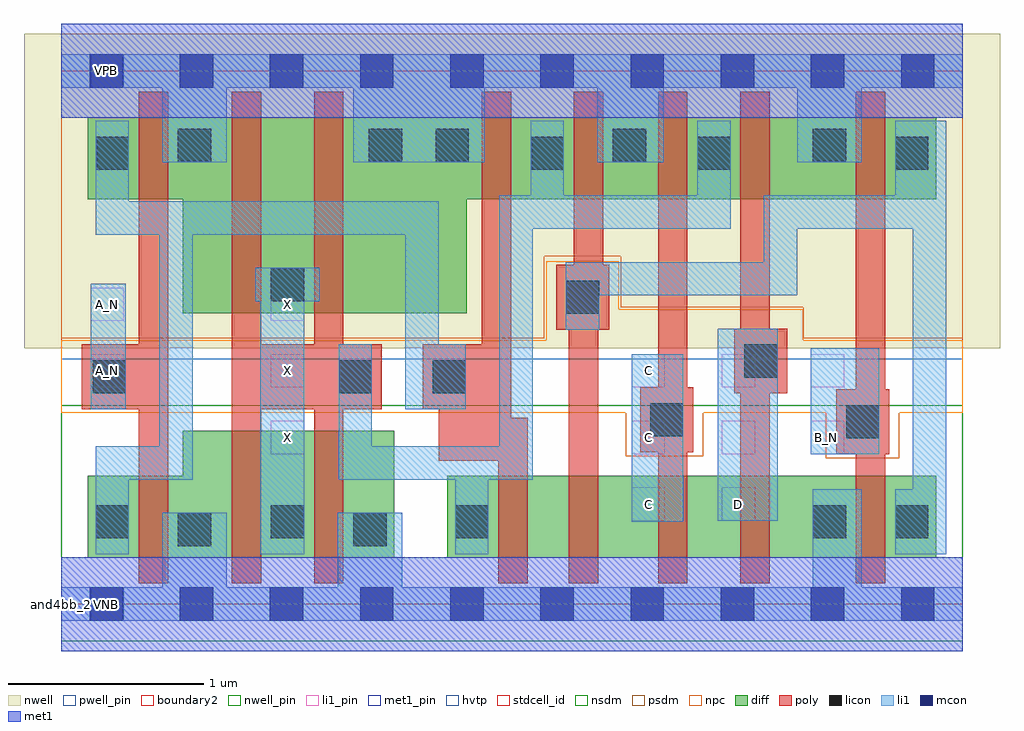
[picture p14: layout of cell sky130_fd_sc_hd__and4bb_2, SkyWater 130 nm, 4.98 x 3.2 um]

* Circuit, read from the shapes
.subckt sky130_fd_sc_hd__and4bb_2 A_N B_N C D VGND VNB VPB VPWR X
XM1 VGND A_N n1 VNB sky130_fd_pr__nfet_01v8 w=0.42 l=0.15
XM2 X n2 VGND VNB sky130_fd_pr__nfet_01v8 w=0.65 l=0.15 m=2
XM3 n3 n1 n2 VNB sky130_fd_pr__nfet_01v8 w=0.42 l=0.15
XM4 n4 n5 n3 VNB sky130_fd_pr__nfet_01v8 w=0.42 l=0.15
XM5 n6 C n4 VNB sky130_fd_pr__nfet_01v8 w=0.42 l=0.15
XM6 VGND D n6 VNB sky130_fd_pr__nfet_01v8 w=0.42 l=0.15
XM7 n5 B_N VGND VNB sky130_fd_pr__nfet_01v8 w=0.42 l=0.15
XM8 VPWR A_N n1 VPB sky130_fd_pr__pfet_01v8_hvt w=0.42 l=0.15
XM9 X n2 VPWR VPB sky130_fd_pr__pfet_01v8_hvt w=1 l=0.15 m=2
XM10 n2 n1 VPWR VPB sky130_fd_pr__pfet_01v8_hvt w=0.42 l=0.15
XM11 VPWR n5 n2 VPB sky130_fd_pr__pfet_01v8_hvt w=0.42 l=0.15
XM12 n2 C VPWR VPB sky130_fd_pr__pfet_01v8_hvt w=0.42 l=0.15
XM13 VPWR D n2 VPB sky130_fd_pr__pfet_01v8_hvt w=0.42 l=0.15
XM14 n5 B_N VPWR VPB sky130_fd_pr__pfet_01v8_hvt w=0.42 l=0.15
.ends

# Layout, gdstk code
import gdstk
lib = gdstk.Library(unit=1e-6, precision=1e-09)
def R(c, l, rs):  # rectangles x0, y0, x1, y1
    for r in rs: c.add(gdstk.rectangle(r[:2], r[2:], *l))
def A(c, l, x, y, w, h, nx, ny, dx, dy):  # array of equal rectangles
    R(c, l, [(x+i*dx, y+j*dy, x+i*dx+w, y+j*dy+h) for i in range(nx) for j in range(ny)])
def P(c, l, *ps):  # polygons
    for p in ps: c.add(gdstk.Polygon(p, *l))
nwell_pin = (64, 16)
nwell = (64, 20)
diff = (65, 20)
poly = (66, 20)
licon = (66, 44)
li1_pin = (67, 16)
li1 = (67, 20)
mcon = (67, 44)
met1_pin = (68, 16)
met1 = (68, 20)
hvtp = (78, 44)
stdcell_id = (81, 4)
nsdm = (93, 44)
psdm = (94, 20)
npc = (95, 20)
pwell_pin = (122, 16)
boundary2 = (236, 0)

sky130_fd_sc_hd__and4bb_ = lib.new_cell('sky130_fd_sc_hd__and4bb_2')
R(sky130_fd_sc_hd__and4bb_, nwell_pin, [(0.15,2.635,0.32,2.805)])
R(sky130_fd_sc_hd__and4bb_, nwell, [(-0.19,1.305,4.79,2.91)])
R(sky130_fd_sc_hd__and4bb_, diff, [(1.97,0.235,4.465,0.655)])
P(sky130_fd_sc_hd__and4bb_, diff, [(4.465,2.485),(0.135,2.485),(0.135,2.065),(0.62,2.065),(0.62,1.485),(2.07,1.485),(2.07,2.065),(4.465,2.065)],
  [(1.7,0.885),(0.62,0.885),(0.62,0.655),(0.135,0.655),(0.135,0.235),(1.7,0.235)])
P(sky130_fd_sc_hd__and4bb_, poly, [(0.545,2.615),(0.395,2.615),(0.395,1.325),(0.105,1.325),(0.105,0.995),(0.395,0.995),(0.395,0.105),(0.545,0.105)],
  [(4.225,1.095),(4.205,1.095),(4.205,2.615),(4.055,2.615),(4.055,1.095),(3.955,1.095),(3.955,0.765),(4.055,0.765),(4.055,0.105),(4.205,0.105),(4.205,0.765),(4.225,0.765)],
  [(1.635,1.325),(1.44,1.325),(1.44,2.615),(1.29,2.615),(1.29,1.325),(1.02,1.325),(1.02,2.615),(0.87,2.615),(0.87,0.105),(1.02,0.105),(1.02,0.995),(1.29,0.995),(1.29,0.105),(1.44,0.105),(1.44,0.995),(1.635,0.995)],
  [(2.38,0.95),(2.295,0.95),(2.295,2.615),(2.145,2.615),(2.145,1.325),(1.845,1.325),(1.845,0.995),(1.925,0.995),(1.925,0.73),(2.23,0.73),(2.23,0.105),(2.38,0.105)],
  [(2.795,1.73),(2.765,1.73),(2.765,2.615),(2.615,2.615),(2.615,1.73),(2.525,1.73),(2.525,1.4),(2.59,1.4),(2.59,0.105),(2.74,0.105),(2.74,1.4),(2.795,1.4)],
  [(3.225,1.105),(3.195,1.105),(3.195,2.615),(3.045,2.615),(3.045,1.105),(2.955,1.105),(2.955,0.775),(3.045,0.775),(3.045,0.105),(3.195,0.105),(3.195,0.775),(3.225,0.775)],
  [(3.705,1.405),(3.615,1.405),(3.615,2.615),(3.465,2.615),(3.465,1.405),(3.435,1.405),(3.435,1.075),(3.465,1.075),(3.465,0.105),(3.615,0.105),(3.615,1.075),(3.705,1.075)])
R(sky130_fd_sc_hd__and4bb_, licon, [(0.595,0.295,0.765,0.465), (1.49,0.295,1.66,0.465), (0.175,0.335,0.345,0.505), (1.07,0.335,1.24,0.505), (2.01,0.335,2.18,0.505), (3.835,0.335,4.005,0.505), (4.255,0.335,4.425,0.505), (4.005,0.845,4.175,1.015), (3.005,0.855,3.175,1.025), (0.16,1.075,0.33,1.245), (1.415,1.075,1.585,1.245), (1.895,1.075,2.065,1.245), (3.485,1.155,3.655,1.325), (2.575,1.48,2.745,1.65), (1.07,1.545,1.24,1.715), (0.175,2.215,0.345,2.385), (2.395,2.215,2.565,2.385), (3.245,2.215,3.415,2.385), (4.255,2.215,4.425,2.385), (0.595,2.255,0.765,2.425), (1.57,2.255,1.74,2.425), (1.91,2.255,2.08,2.425), (2.815,2.255,2.985,2.425), (3.835,2.255,4.005,2.425)])
A(sky130_fd_sc_hd__and4bb_, li1_pin, 2.91, 0.425, 0.17, 0.17, 1, 3, 0, 0.34)
A(sky130_fd_sc_hd__and4bb_, li1_pin, 3.37, 0.425, 0.17, 0.17, 1, 3, 0, 0.34)
A(sky130_fd_sc_hd__and4bb_, li1_pin, 1.07, 0.765, 0.17, 0.17, 1, 3, 0, 0.34)
R(sky130_fd_sc_hd__and4bb_, li1_pin, [(3.825,0.765,3.995,0.935), (0.15,1.105,0.32,1.275), (3.825,1.105,3.995,1.275), (0.15,1.445,0.32,1.615)])
R(sky130_fd_sc_hd__and4bb_, li1, [(2.91,0.42,3.175,1.275), (3.35,0.425,3.655,1.405), (3.825,0.765,4.175,1.305), (0.15,0.995,0.33,1.635)])
P(sky130_fd_sc_hd__and4bb_, li1, [(4.515,2.465),(4.255,2.465),(4.255,2.085),(3.585,2.085),(3.585,1.745),(2.575,1.745),(2.575,1.4),(2.745,1.4),(2.745,1.575),(3.755,1.575),(3.755,1.915),(4.345,1.915),(4.345,0.585),(4.255,0.585),(4.255,0.255),(4.515,0.255)],
  [(1.32,1.715),(0.99,1.715),(0.99,1.545),(1.015,1.545),(1.015,0.255),(1.24,0.255),(1.24,1.545),(1.32,1.545)],
  [(4.6,0.085),(4.085,0.085),(4.085,0.585),(3.835,0.585),(3.835,0.085),(1.74,0.085),(1.74,0.465),(1.41,0.465),(1.41,0.085),(0.845,0.085),(0.845,0.465),(0.515,0.465),(0.515,0.085),(0,0.085),(0,-0.085),(4.6,-0.085)],
  [(2.065,1.325),(1.925,1.325),(1.925,2.055),(0.345,2.055),(0.345,2.465),(0.175,2.465),(0.175,1.885),(0.5,1.885),(0.5,0.805),(0.175,0.805),(0.175,0.255),(0.345,0.255),(0.345,0.635),(0.67,0.635),(0.67,1.885),(1.755,1.885),(1.755,0.995),(2.065,0.995)],
  [(4.6,2.805),(0,2.805),(0,2.635),(0.515,2.635),(0.515,2.255),(0.845,2.255),(0.845,2.635),(1.49,2.635),(1.49,2.255),(2.16,2.255),(2.16,2.635),(2.735,2.635),(2.735,2.255),(3.075,2.255),(3.075,2.635),(3.755,2.635),(3.755,2.255),(4.085,2.255),(4.085,2.635),(4.6,2.635)],
  [(3.415,2.465),(3.245,2.465),(3.245,2.085),(2.565,2.085),(2.565,2.465),(2.395,2.465),(2.395,2.085),(2.235,2.085),(2.235,0.805),(1.585,0.805),(1.585,1.325),(1.415,1.325),(1.415,0.635),(2.01,0.635),(2.01,0.255),(2.18,0.255),(2.18,0.635),(2.405,0.635),(2.405,1.915),(3.415,1.915)])
A(sky130_fd_sc_hd__and4bb_, mcon, 0.145, -0.085, 0.17, 0.17, 10, 2, 0.46, 2.72)
R(sky130_fd_sc_hd__and4bb_, met1_pin, [(0.15,-0.085,0.32,0.085), (0.15,2.635,0.32,2.805)])
R(sky130_fd_sc_hd__and4bb_, hvtp, [(0,1.25,4.6,2.72)])
R(sky130_fd_sc_hd__and4bb_, stdcell_id, [(0,0,4.6,2.72)])
R(sky130_fd_sc_hd__and4bb_, nsdm, [(0,-0.19,4.6,1.015)])
P(sky130_fd_sc_hd__and4bb_, psdm, [(4.6,2.91),(0,2.91),(0,1.355),(2.465,1.355),(2.465,1.775),(2.855,1.775),(2.855,1.515),(3.785,1.515),(3.785,1.355),(4.6,1.355)])
P(sky130_fd_sc_hd__and4bb_, npc, [(4.6,1.345),(3.785,1.345),(3.785,1.505),(2.845,1.505),(2.845,1.75),(2.475,1.75),(2.475,1.345),(0,1.345),(0,0.975),(2.88,0.975),(2.88,0.755),(3.275,0.755),(3.275,0.975),(3.9,0.975),(3.9,0.745),(4.275,0.745),(4.275,0.975),(4.6,0.975)])
R(sky130_fd_sc_hd__and4bb_, pwell_pin, [(0.15,-0.085,0.32,0.085)])
R(sky130_fd_sc_hd__and4bb_, boundary2, [(0,0,4.6,2.72)])
sky130_fd_sc_hd__and4bb_.add(gdstk.FlexPath([(0,2.72),(4.6,2.72)], 0.48, ends="flush", simple_path=True, layer=68, datatype=20))  # met1
sky130_fd_sc_hd__and4bb_.add(gdstk.FlexPath([(0,0),(4.6,0)], 0.48, ends="flush", simple_path=True, layer=68, datatype=20))  # met1
sky130_fd_sc_hd__and4bb_.add(gdstk.Label('VNB', (0.23,0), layer=64, texttype=59))
sky130_fd_sc_hd__and4bb_.add(gdstk.Label('VPB', (0.23,2.72), layer=64, texttype=5))
sky130_fd_sc_hd__and4bb_.add(gdstk.Label('VGND', (0.23,0), layer=68, texttype=5))
sky130_fd_sc_hd__and4bb_.add(gdstk.Label('VPWR', (0.23,2.72), layer=68, texttype=5))
sky130_fd_sc_hd__and4bb_.add(gdstk.Label('A_N', (0.235,1.53), layer=67, texttype=5))
sky130_fd_sc_hd__and4bb_.add(gdstk.Label('C', (2.995,0.51), layer=67, texttype=5))
sky130_fd_sc_hd__and4bb_.add(gdstk.Label('B_N', (3.905,0.85), layer=67, texttype=5))
sky130_fd_sc_hd__and4bb_.add(gdstk.Label('C', (2.995,0.85), layer=67, texttype=5))
sky130_fd_sc_hd__and4bb_.add(gdstk.Label('X', (1.155,1.19), layer=67, texttype=5))
sky130_fd_sc_hd__and4bb_.add(gdstk.Label('X', (1.155,1.53), layer=67, texttype=5))
sky130_fd_sc_hd__and4bb_.add(gdstk.Label('C', (2.995,1.19), layer=67, texttype=5))
sky130_fd_sc_hd__and4bb_.add(gdstk.Label('A_N', (0.235,1.19), layer=67, texttype=5))
sky130_fd_sc_hd__and4bb_.add(gdstk.Label('X', (1.155,0.85), layer=67, texttype=5))
sky130_fd_sc_hd__and4bb_.add(gdstk.Label('D', (3.455,0.51), layer=67, texttype=5))
sky130_fd_sc_hd__and4bb_.add(gdstk.Label('and4bb_2', (0,0), layer=83, texttype=44))

lib.write_gds('sky130_fd_sc_hd__and4bb_2.gds')
